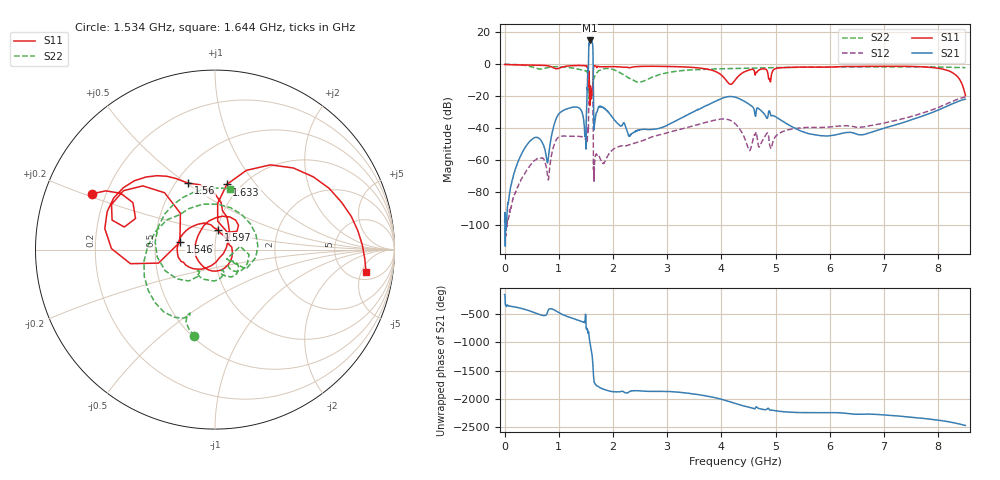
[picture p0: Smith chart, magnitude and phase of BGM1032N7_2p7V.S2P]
!Agilent Technologies,E5071C,MY46105553,A.09.30
!Date: Wed Dec 01 17:50:25 2010
!Data & Calibration Information:
!Freq	S11:SOLT2(ON)	S21:SOLT2(ON)	S12:SOLT2(ON)	S22:SOLT2(ON)
# Hz S dB R 50
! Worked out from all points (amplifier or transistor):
!   1600 points, 300 kHz to 8.5 GHz, reference 50 ohm
!   highest |S21| = 14.9 dB at 1.574 GHz (marker M1)
!   |S21| within 3 dB of that: 1.561 GHz to 1.625 GHz (64.12 MHz wide, 4.02 % of centre)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
!   unconditionally stable (mu >= 1): 24.3 MHz to end of sweep
!   at 1.466 GHz: K = 708.62, MAG = -27.2 dB, |S12| = -45.8 dB
!   at 3.267 GHz: K = 441.40, MAG = -26.0 dB, |S12| = -40.3 dB
!   at 8.5 GHz: K = 24.52, MAG = -17.6 dB, |S12| = -20.5 dB
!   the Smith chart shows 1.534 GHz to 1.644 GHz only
!   S11 on the Smith chart (normalised r, x): 1.534 GHz: 0.15, +0.21; 1.546 GHz: 0.67, +0.06; 1.56 GHz: 0.57, +0.51; 1.597 GHz: 1.01, +0.23; 1.633 GHz: 0.86, +0.72; 1.644 GHz: 6.89, -6.09
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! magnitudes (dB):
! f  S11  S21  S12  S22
! 300 kHz  -0.1  -98.3  -96.6  0.0
! 468.6 MHz  -0.4  -47.9  -63.4  -1.3
! 679.7 MHz  -0.6  -47.9  -58.6  -2.9
! 805 MHz  -1.0  -58.9  -72.1  -2.0
! 1.002 GHz  -2.5  -30.9  -45.3  -1.5
! 1.419 GHz  -0.7  -29.2  -45.2  -3.5
! 1.501 GHz  -0.9  -52.9  -46.4  -4.3
! 1.534 GHz  -2.4  -4.4  -40.4  -6.1
! 1.546 GHz  -14.0  -2.5  -39.3  -7.9
! 1.56 GHz  -7.9  12.9  -23.7  -13.8
! 1.574 GHz  -20.8  14.9  -21.4  -19.4
! 1.597 GHz  -19.0  14.6  -21.6  -16.3
! 1.623 GHz  -15.7  12.6  -23.1  -15.2
! 1.633 GHz  -8.7  2.8  -32.9  -10.4
! 1.644 GHz  -1.4  -36.7  -64.2  -9.2
! 2.835 GHz  -1.2  -40.1  -44.2  -6.6
! 4.256 GHz  -9.7  -20.5  -37.2  -2.6
! 4.512 GHz  -3.6  -24.9  -53.7  -2.4
! 5.671 GHz  -1.8  -43.7  -39.3  -1.7
! 7.085 GHz  -1.2  -39.0  -36.0  -1.6
! 8.173 GHz  -3.8  -26.0  -24.4  -1.9
! 8.5 GHz  -19.5  -21.8  -20.5  -2.1
